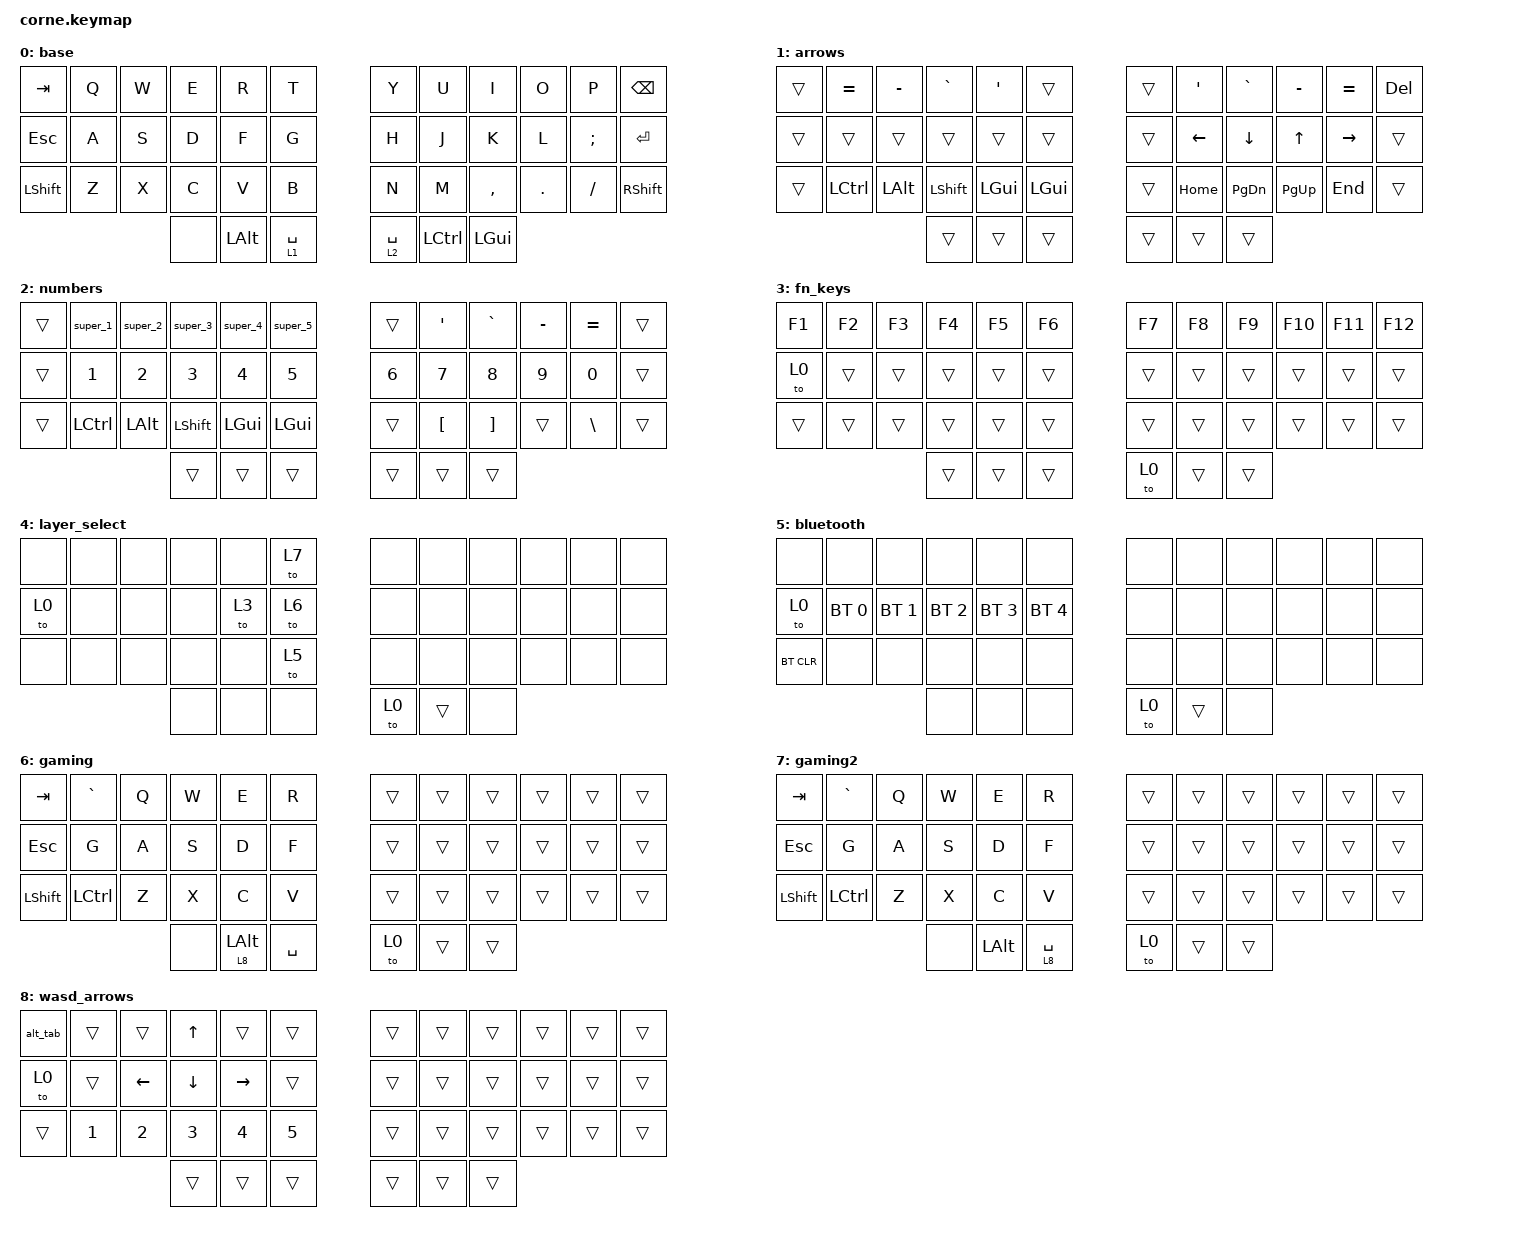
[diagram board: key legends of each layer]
/*
 * Copyright (c) 2020 The ZMK Contributors
 *
 * SPDX-License-Identifier: MIT
 */

#include <behaviors.dtsi>
#include <dt-bindings/zmk/bt.h>
#include <dt-bindings/zmk/keys.h>

/ {
    macros {
        super_1: super_1 {
            compatible = "zmk,behavior-macro";
            #binding-cells = <0>;
            bindings =
                <&macro_press>,
                <&kp LEFT_GUI>,
                <&macro_tap>,
                <&kp NUMBER_1>,
                <&macro_release>,
                <&kp LEFT_GUI>;

            label = "SUPER_1";
        };

        super_2: super_2 {
            compatible = "zmk,behavior-macro";
            #binding-cells = <0>;
            bindings =
                <&macro_press>,
                <&kp LEFT_GUI>,
                <&macro_tap>,
                <&kp NUMBER_2>,
                <&macro_release>,
                <&kp LEFT_GUI>;

            label = "SUPER_2";
        };

        super_3: super_3 {
            compatible = "zmk,behavior-macro";
            #binding-cells = <0>;
            bindings =
                <&macro_press>,
                <&kp LEFT_GUI>,
                <&macro_tap>,
                <&kp NUMBER_3>,
                <&macro_release>,
                <&kp LEFT_GUI>;

            label = "SUPER_3";
        };

        super_4: super_4 {
            compatible = "zmk,behavior-macro";
            #binding-cells = <0>;
            bindings =
                <&macro_press>,
                <&kp LEFT_GUI>,
                <&macro_tap>,
                <&kp NUMBER_4>,
                <&macro_release>,
                <&kp LEFT_GUI>;

            label = "SUPER_4";
        };

        super_5: super_5 {
            compatible = "zmk,behavior-macro";
            #binding-cells = <0>;
            bindings =
                <&macro_press>,
                <&kp LEFT_GUI>,
                <&macro_tap>,
                <&kp NUMBER_5>,
                <&macro_release>,
                <&kp LEFT_GUI>;

            label = "SUPER_5";
        };

        copy: copy {
            compatible = "zmk,behavior-macro";
            #binding-cells = <0>;
            bindings =
                <&macro_press>,
                <&kp LEFT_CONTROL>,
                <&macro_tap>,
                <&kp C>,
                <&macro_release>,
                <&kp LEFT_CONTROL>;

            label = "COPY";
        };

        paste: paste {
            compatible = "zmk,behavior-macro";
            #binding-cells = <0>;
            bindings =
                <&macro_press>,
                <&kp LEFT_CONTROL>,
                <&macro_tap>,
                <&kp V>,
                <&macro_release>,
                <&kp LEFT_CONTROL>;

            label = "PASTE";
        };

        ctrl_a: ctrl_a {
            compatible = "zmk,behavior-macro";
            #binding-cells = <0>;
            bindings =
                <&macro_press>,
                <&kp LEFT_CONTROL>,
                <&macro_tap>,
                <&kp A>,
                <&macro_release>,
                <&kp LEFT_CONTROL>;

            label = "CTRL_A";
        };

        alt_tab: alt_tab {
            compatible = "zmk,behavior-macro";
            #binding-cells = <0>;
            bindings =
                <&macro_press>,
                <&kp LEFT_ALT>,
                <&macro_tap>,
                <&kp TAB>,
                <&macro_release>,
                <&kp LEFT_ALT>;

            label = "ALT_TAB";
        };
    };

    behaviors {
        peek_toggle_layer: peek_toggle_layer {
            compatible = "zmk,behavior-hold-tap";
            label = "PEEK_TOGGLE_LAYER";
            bindings = <&mo>, <&to>;

            #binding-cells = <2>;
            tapping-term-ms = <200>;
            flavor = "hold-preferred";
            hold-while-undecided;
        };
    };

    combos {
        compatible = "zmk,combos";

        layer_select_combo {
            bindings = <&to 4>;
            key-positions = <24 35>;
        };

        underscore {
            bindings = <&kp UNDER>;
            key-positions = <8 9 7>;
        };
    };

    keymap {
        compatible = "zmk,keymap";

        default_layer {
            // -----------------------------------------------------------------------------------------
            // |  TAB |  Q  |  W  |  E  |  R  |  T  |   |  Y  |  U   |  I  |  O  |  P  | BKSP |
            // | CTRL |  A  |  S  |  D  |  F  |  G  |   |  H  |  J   |  K  |  L  |  ;  |  '   |
            // | SHFT |  Z  |  X  |  C  |  V  |  B  |   |  N  |  M   |  ,  |  .  |  /  | ESC  |
            //                    | GUI | LWR | SPC |   | ENT | RSE  | ALT |

            display-name = "base";
            bindings = <
&kp TAB         &kp Q  &kp W  &kp E  &kp R         &kp T          &kp Y        &kp U             &kp I         &kp O    &kp P     &kp BSPC
&kp ESCAPE      &kp A  &kp S  &kp D  &kp F         &kp G          &kp H        &kp J             &kp K         &kp L    &kp SEMI  &kp ENTER
&kp LEFT_SHIFT  &kp Z  &kp X  &kp C  &kp V         &kp B          &kp N        &kp M             &kp COMMA     &kp DOT  &kp FSLH  &kp RIGHT_SHIFT
                              &none  &kp LEFT_ALT  &lt 1 SPACE    &lt 2 SPACE  &kp LEFT_CONTROL  &kp LEFT_GUI
            >;
        };

        arrows {
            bindings = <
&trans  &kp EQUAL         &kp MINUS  &kp GRAVE  &kp APOS      &trans          &trans  &kp APOS  &kp GRAVE  &kp MINUS  &kp EQUAL  &kp DELETE
&trans  &trans            &trans     &trans     &trans        &trans          &trans  &kp LEFT  &kp DOWN   &kp UP     &kp RIGHT  &trans
&trans  &kp LEFT_CONTROL  &kp LALT   &kp LSHFT  &kp LEFT_GUI  &kp LEFT_GUI    &trans  &kp HOME  &kp PG_DN  &kp PG_UP  &kp END    &trans
                                     &trans     &trans        &trans          &trans  &trans    &trans
            >;

            label = "arrows";
        };

        numbers {
            bindings = <
&trans  &super_1   &super_2  &super_3   &super_4  &super_5        &trans  &kp SQT   &kp GRAVE  &kp MINUS  &kp EQUAL      &trans
&trans  &kp N1     &kp N2    &kp N3     &kp N4    &kp N5          &kp N6  &kp N7    &kp N8     &kp N9     &kp N0         &trans
&trans  &kp LCTRL  &kp LALT  &kp LSHFT  &kp LGUI  &kp LEFT_GUI    &trans  &kp LBKT  &kp RBKT   &trans     &kp BACKSLASH  &trans
                             &trans     &trans    &trans          &trans  &trans    &trans
            >;

            label = "numbers";
        };

        fn_keys {
            bindings = <
&kp F1  &kp F2  &kp F3  &kp F4  &kp F5  &kp F6    &kp F7  &kp F8  &kp F9  &kp F10  &kp F11  &kp F12
&to 0   &trans  &trans  &trans  &trans  &trans    &trans  &trans  &trans  &trans   &trans   &trans
&trans  &trans  &trans  &trans  &trans  &trans    &trans  &trans  &trans  &trans   &trans   &trans
                        &trans  &trans  &trans    &to 0   &trans  &trans
            >;

            label = "fn_keys";
        };

        layer_select {
            bindings = <
&none  &none  &none  &none  &none  &to 7    &none  &none   &none  &none  &none  &none
&to 0  &none  &none  &none  &to 3  &to 6    &none  &none   &none  &none  &none  &none
&none  &none  &none  &none  &none  &to 5    &none  &none   &none  &none  &none  &none
                     &none  &none  &none    &to 0  &trans  &none
            >;

            label = "layer_select";
        };

        bluetooth {
            bindings = <
&none       &none         &none         &none         &none         &none           &none  &none   &none  &none  &none  &none
&to 0       &bt BT_SEL 0  &bt BT_SEL 1  &bt BT_SEL 2  &bt BT_SEL 3  &bt BT_SEL 4    &none  &none   &none  &none  &none  &none
&bt BT_CLR  &none         &none         &none         &none         &none           &none  &none   &none  &none  &none  &none
                                        &none         &none         &none           &to 0  &trans  &none
            >;

            label = "bluetooth";
        };

        gaming {
            bindings = <
&kp TAB    &kp GRAVE         &kp Q  &kp W  &kp E           &kp R        &trans  &trans  &trans  &trans  &trans  &trans
&kp ESC    &kp G             &kp A  &kp S  &kp D           &kp F        &trans  &trans  &trans  &trans  &trans  &trans
&kp LSHFT  &kp LEFT_CONTROL  &kp Z  &kp X  &kp C           &kp V        &trans  &trans  &trans  &trans  &trans  &trans
                                    &none  &lt 8 LEFT_ALT  &kp SPACE    &to 0   &trans  &trans
            >;

            label = "gaming";
        };

        gaming2 {
            label = "gaming2";
            bindings = <
&kp TAB    &kp GRAVE         &kp Q  &kp W  &kp E         &kp R          &trans  &trans  &trans  &trans  &trans  &trans
&kp ESC    &kp G             &kp A  &kp S  &kp D         &kp F          &trans  &trans  &trans  &trans  &trans  &trans
&kp LSHFT  &kp LEFT_CONTROL  &kp Z  &kp X  &kp C         &kp V          &trans  &trans  &trans  &trans  &trans  &trans
                                    &none  &kp LEFT_ALT  &lt 8 SPACE    &to 0   &trans  &trans
            >;
        };

        wasd_arrows {
            bindings = <
&alt_tab  &trans  &trans    &kp UP    &trans     &trans    &trans  &trans  &trans  &trans  &trans  &trans
&to 0     &trans  &kp LEFT  &kp DOWN  &kp RIGHT  &trans    &trans  &trans  &trans  &trans  &trans  &trans
&trans    &kp N1  &kp N2    &kp N3    &kp N4     &kp N5    &trans  &trans  &trans  &trans  &trans  &trans
                            &trans    &trans     &trans    &trans  &trans  &trans
            >;

            label = "wasd_arrows";
        };
    };
};
